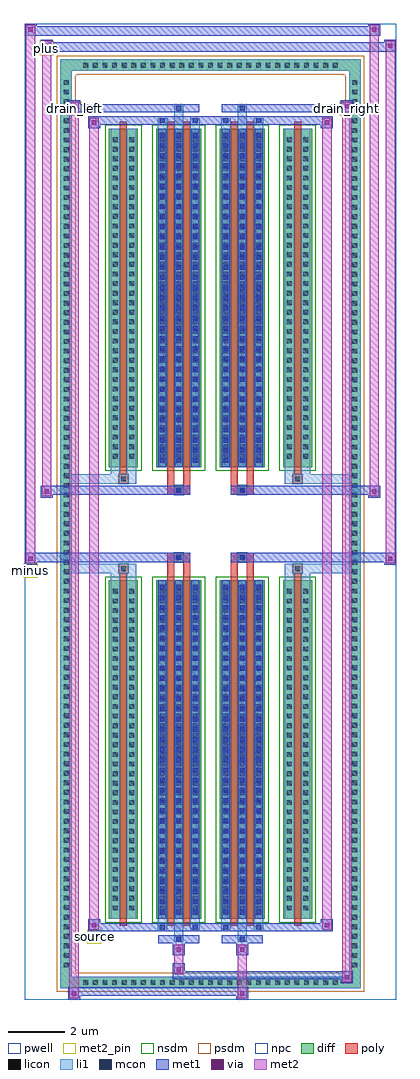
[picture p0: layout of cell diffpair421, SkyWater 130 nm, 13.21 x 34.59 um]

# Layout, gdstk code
import gdstk
lib = gdstk.Library(unit=1e-6, precision=5e-09)
def R(c, l, rs):  # rectangles x0, y0, x1, y1
    for r in rs: c.add(gdstk.rectangle(r[:2], r[2:], *l))
def A(c, l, x, y, w, h, nx, ny, dx, dy):  # array of equal rectangles
    R(c, l, [(x+i*dx, y+j*dy, x+i*dx+w, y+j*dy+h) for i in range(nx) for j in range(ny)])
def P(c, l, *ps):  # polygons
    for p in ps: c.add(gdstk.Polygon(p, *l))
pwell = (64, 44)
diff = (65, 20)
poly = (66, 20)
licon = (66, 44)
li1 = (67, 20)
mcon = (67, 44)
met1 = (68, 20)
via = (68, 44)
met2_pin = (69, 16)
met2 = (69, 20)
nsdm = (93, 44)
psdm = (94, 20)
npc = (95, 20)

diffpair421 = lib.new_cell('diffpair421')
R(diffpair421, pwell, [(-6.59,-16.86,6.59,17.73), (-3.91,-15.05,-0.01,-0.825), (0.01,-15.05,3.91,-0.825), (-3.91,0.825,-0.01,15.05), (0.01,0.825,3.91,15.05)])
A(diffpair421, diff, -4.625, -16.46, 0.41, 0.41, 27, 2, 0.34, 32.51)
A(diffpair421, diff, -5.32, -15.845, 0.41, 0.41, 1, 93, 0, 0.34)
A(diffpair421, diff, 4.91, -15.845, 0.41, 0.41, 1, 93, 0, 0.34)
R(diffpair421, diff, [(-4.625,-16.46,4.625,-16.05), (-5.32,-15.845,-4.91,15.845), (4.91,-15.845,5.32,15.845), (-3.6,-14.005,-2.57,-2.005), (-1.93,-14.005,-0.32,-2.005), (0.32,-14.005,1.93,-2.005), (2.57,-14.005,3.6,-2.005), (-3.6,2.005,-2.57,14.005), (-1.93,2.005,-0.32,14.005), (0.32,2.005,1.93,14.005), (2.57,2.005,3.6,14.005), (-4.625,16.05,4.625,16.46)])
P(diffpair421, diff, [(5.32,16.46),(-5.32,16.46),(-5.32,-16.05),(-4.91,-16.05),(-4.91,16.05),(4.91,16.05),(4.91,-16.05),(-4.91,-16.05),(-5.32,-16.05),(-5.32,-16.46),(5.32,-16.46)])
R(diffpair421, poly, [(-3.21,-14.255,-2.96,-1.755), (-1.54,-14.255,-1.29,-1.755), (-0.96,-14.255,-0.71,-1.755), (0.71,-14.255,0.96,-1.755), (1.29,-14.255,1.54,-1.755), (2.96,-14.255,3.21,-1.755), (-3.25,-1.755,-2.92,-1.425), (-3.25,-1.755,-2.92,-1.425), (-1.54,-1.755,-1.29,-1.355), (-0.96,-1.755,-0.71,-1.355), (0.71,-1.755,0.96,-1.355), (1.29,-1.755,1.54,-1.355), (2.92,-1.755,3.25,-1.425), (2.92,-1.755,3.25,-1.425), (-1.54,-1.355,-0.71,-1.025), (-1.29,-1.355,-0.96,-1.025), (0.71,-1.355,1.54,-1.025), (0.96,-1.355,1.29,-1.025), (-1.54,1.025,-0.71,1.355), (-1.29,1.025,-0.96,1.355), (0.71,1.025,1.54,1.355), (0.96,1.025,1.29,1.355), (-1.54,1.355,-1.29,1.755), (-0.96,1.355,-0.71,1.755), (0.71,1.355,0.96,1.755), (1.29,1.355,1.54,1.755), (-3.25,1.425,-2.92,1.755), (-3.25,1.425,-2.92,1.755), (2.92,1.425,3.25,1.755), (2.92,1.425,3.25,1.755), (-3.21,1.755,-2.96,14.255), (-1.54,1.755,-1.29,14.255), (-0.96,1.755,-0.71,14.255), (0.71,1.755,0.96,14.255), (1.29,1.755,1.54,14.255), (2.96,1.755,3.21,14.255)])
A(diffpair421, licon, -4.505, -16.34, 0.17, 0.17, 27, 2, 0.34, 32.51)
A(diffpair421, licon, -5.2, -15.725, 0.17, 0.17, 1, 93, 0, 0.34)
A(diffpair421, licon, 5.03, -15.725, 0.17, 0.17, 1, 93, 0, 0.34)
A(diffpair421, licon, -3.46, -13.7, 0.17, 0.17, 1, 34, 0, 0.34)
A(diffpair421, licon, -2.88, -13.7, 0.17, 0.17, 1, 34, 0, 0.34)
A(diffpair421, licon, -1.79, -13.7, 0.17, 0.17, 3, 34, 0.58, 0.34)
A(diffpair421, licon, 0.46, -13.7, 0.17, 0.17, 3, 34, 0.58, 0.34)
A(diffpair421, licon, 2.71, -13.7, 0.17, 0.17, 1, 34, 0, 0.34)
A(diffpair421, licon, 3.29, -13.7, 0.17, 0.17, 1, 34, 0, 0.34)
A(diffpair421, licon, -3.46, 2.31, 0.17, 0.17, 1, 34, 0, 0.34)
A(diffpair421, licon, -2.88, 2.31, 0.17, 0.17, 1, 34, 0, 0.34)
A(diffpair421, licon, -1.79, 2.31, 0.17, 0.17, 3, 34, 0.58, 0.34)
A(diffpair421, licon, 0.46, 2.31, 0.17, 0.17, 3, 34, 0.58, 0.34)
A(diffpair421, licon, 2.71, 2.31, 0.17, 0.17, 1, 34, 0, 0.34)
A(diffpair421, licon, 3.29, 2.31, 0.17, 0.17, 1, 34, 0, 0.34)
R(diffpair421, licon, [(-3.17,-1.675,-3,-1.505), (3,-1.675,3.17,-1.505), (-1.21,-1.275,-1.04,-1.105), (1.04,-1.275,1.21,-1.105), (-1.21,1.105,-1.04,1.275), (1.04,1.105,1.21,1.275), (-3.17,1.505,-3,1.675), (3,1.505,3.17,1.675)])
A(diffpair421, li1, -4.585, -16.42, 0.33, 0.33, 27, 2, 0.34, 32.51)
A(diffpair421, li1, -5.28, -15.805, 0.33, 0.33, 1, 93, 0, 0.34)
A(diffpair421, li1, 4.95, -15.805, 0.33, 0.33, 1, 93, 0, 0.34)
A(diffpair421, li1, -1.87, -14.005, 0.33, 12, 3, 2, 0.58, 16.01)
A(diffpair421, li1, 0.38, -14.005, 0.33, 12, 3, 2, 0.58, 16.01)
A(diffpair421, li1, -1.79, -13.85, 0.17, 0.17, 3, 33, 0.58, 0.36)
A(diffpair421, li1, -1.79, -13.85, 0.17, 11.69, 3, 2, 0.58, 16.01)
A(diffpair421, li1, 0.46, -13.85, 0.17, 0.17, 3, 33, 0.58, 0.36)
A(diffpair421, li1, 0.46, -13.85, 0.17, 11.69, 3, 2, 0.58, 16.01)
A(diffpair421, li1, -3.54, -13.78, 0.33, 0.33, 1, 34, 0, 0.34)
A(diffpair421, li1, -2.96, -13.78, 0.33, 0.33, 1, 34, 0, 0.34)
A(diffpair421, li1, -1.87, -13.78, 0.33, 0.33, 3, 34, 0.58, 0.34)
A(diffpair421, li1, 0.38, -13.78, 0.33, 0.33, 3, 34, 0.58, 0.34)
A(diffpair421, li1, 2.63, -13.78, 0.33, 0.33, 1, 34, 0, 0.34)
A(diffpair421, li1, 3.21, -13.78, 0.33, 0.33, 1, 34, 0, 0.34)
A(diffpair421, li1, -1.79, 2.16, 0.17, 0.17, 3, 33, 0.58, 0.36)
A(diffpair421, li1, 0.46, 2.16, 0.17, 0.17, 3, 33, 0.58, 0.36)
A(diffpair421, li1, -3.54, 2.23, 0.33, 0.33, 1, 34, 0, 0.34)
A(diffpair421, li1, -2.96, 2.23, 0.33, 0.33, 1, 34, 0, 0.34)
A(diffpair421, li1, -1.87, 2.23, 0.33, 0.33, 3, 34, 0.58, 0.34)
A(diffpair421, li1, 0.38, 2.23, 0.33, 0.33, 3, 34, 0.58, 0.34)
A(diffpair421, li1, 2.63, 2.23, 0.33, 0.33, 1, 34, 0, 0.34)
A(diffpair421, li1, 3.21, 2.23, 0.33, 0.33, 1, 34, 0, 0.34)
R(diffpair421, li1, [(-5.32,-16.46,-4.91,-16.05), (-5.32,-16.46,-4.91,-16.05), (-4.91,-16.46,4.91,-16.05), (4.91,-16.46,5.32,-16.05), (4.91,-16.46,5.32,-16.05), (-5.32,-16.05,-4.91,16.05), (4.91,-16.05,5.32,16.05), (-1.29,-14.81,-0.96,-14.005), (-1.21,-14.81,-1.04,-14.64), (0.96,-14.81,1.29,-14.005), (1.04,-14.81,1.21,-14.64), (-1.87,-14.38,-1.54,-14.005), (-1.79,-14.38,-1.62,-14.21), (-0.71,-14.38,-0.38,-14.005), (-0.63,-14.38,-0.46,-14.21), (0.38,-14.38,0.71,-14.005), (0.46,-14.38,0.63,-14.21), (1.54,-14.38,1.87,-14.005), (1.62,-14.38,1.79,-14.21), (-3.54,-14.005,-3.21,-2.005), (-2.96,-14.005,-2.63,-2.005), (2.63,-14.005,2.96,-2.005), (3.21,-14.005,3.54,-2.005), (-3.54,-2.005,-3.21,-1.425), (-2.96,-2.005,-2.63,-1.425), (2.63,-2.005,2.96,-1.425), (3.21,-2.005,3.54,-1.425), (-5.32,-1.755,-3.25,-1.425), (-3.54,-1.755,-3.25,-1.425), (-3.25,-1.755,-2.92,-1.425), (-2.92,-1.755,-2.63,-1.425), (2.63,-1.755,2.92,-1.425), (2.92,-1.755,3.25,-1.425), (2.92,-1.755,5.32,-1.425), (3.25,-1.755,3.54,-1.425), (-1.29,-1.355,-0.96,-1.025), (0.96,-1.355,1.29,-1.025), (-1.29,1.025,-0.96,1.355), (0.96,1.025,1.29,1.355), (-5.32,1.425,-3.25,1.755), (-3.54,1.425,-3.25,1.755), (-3.54,1.425,-3.21,2.005), (-3.25,1.425,-2.92,1.755), (-2.96,1.425,-2.63,2.005), (-2.92,1.425,-2.63,1.755), (2.63,1.425,2.92,1.755), (2.63,1.425,2.96,2.005), (2.92,1.425,3.25,1.755), (2.92,1.425,5.32,1.755), (3.21,1.425,3.54,2.005), (3.25,1.425,3.54,1.755), (-3.54,2.005,-3.21,14.005), (-2.96,2.005,-2.63,14.005), (2.63,2.005,2.96,14.005), (3.21,2.005,3.54,14.005), (-1.87,14.005,-1.54,14.38), (-1.29,14.005,-0.96,14.81), (-0.71,14.005,-0.38,14.38), (0.38,14.005,0.71,14.38), (0.96,14.005,1.29,14.81), (1.54,14.005,1.87,14.38), (-1.79,14.21,-1.62,14.38), (-0.63,14.21,-0.46,14.38), (0.46,14.21,0.63,14.38), (1.62,14.21,1.79,14.38), (-1.21,14.64,-1.04,14.81), (1.04,14.64,1.21,14.81), (-5.32,16.05,-4.91,16.46), (-5.32,16.05,-4.91,16.46), (-4.91,16.05,4.91,16.46), (4.91,16.05,5.32,16.46), (4.91,16.05,5.32,16.46)])
A(diffpair421, mcon, -1.79, -13.85, 0.17, 0.17, 3, 33, 0.58, 0.36)
A(diffpair421, mcon, 0.46, -13.85, 0.17, 0.17, 3, 33, 0.58, 0.36)
A(diffpair421, mcon, -1.79, 2.16, 0.17, 0.17, 3, 33, 0.58, 0.36)
A(diffpair421, mcon, 0.46, 2.16, 0.17, 0.17, 3, 33, 0.58, 0.36)
R(diffpair421, mcon, [(-1.21,-14.81,-1.04,-14.64), (1.04,-14.81,1.21,-14.64), (-1.79,-14.38,-1.62,-14.21), (-0.63,-14.38,-0.46,-14.21), (0.46,-14.38,0.63,-14.21), (1.62,-14.38,1.79,-14.21), (-1.21,-1.275,-1.04,-1.105), (1.04,-1.275,1.21,-1.105), (-1.21,1.105,-1.04,1.275), (1.04,1.105,1.21,1.275), (-1.79,14.21,-1.62,14.38), (-0.63,14.21,-0.46,14.38), (0.46,14.21,0.63,14.38), (1.62,14.21,1.79,14.38), (-1.21,14.64,-1.04,14.81), (1.04,14.64,1.21,14.81)])
A(diffpair421, met1, -1.85, -14.005, 0.29, 12, 3, 2, 0.58, 16.01)
A(diffpair421, met1, 0.4, -14.005, 0.29, 12, 3, 2, 0.58, 16.01)
A(diffpair421, met1, -1.85, -13.91, 0.29, 0.29, 3, 33, 0.58, 0.36)
A(diffpair421, met1, 0.4, -13.91, 0.29, 0.29, 3, 33, 0.58, 0.36)
A(diffpair421, met1, -1.85, 2.1, 0.29, 0.29, 3, 33, 0.58, 0.36)
A(diffpair421, met1, 0.4, 2.1, 0.29, 0.29, 3, 33, 0.58, 0.36)
R(diffpair421, met1, [(-5.05,-16.86,-4.62,-16.43), (0.91,-16.86,1.34,-16.43), (-5.05,-16.72,1.34,-16.43), (4.62,-16.29,5.05,-15.86), (-1.34,-16.15,5.05,-15.86), (-1.34,-16.01,-0.91,-15.58), (-1.34,-15.3,-0.91,-14.87), (0.91,-15.3,1.34,-14.87), (-1.85,-14.87,-0.4,-14.58), (-1.27,-14.87,-0.98,-14.58), (0.4,-14.87,1.85,-14.58), (0.98,-14.87,1.27,-14.58), (-4.34,-14.44,-3.91,-14.01), (-4.34,-14.44,-1.85,-14.15), (-1.85,-14.44,-1.56,-14.15), (-1.85,-14.44,-0.4,-14.15), (-0.69,-14.44,-0.4,-14.15), (-0.4,-14.44,0.4,-14.15), (0.4,-14.44,0.69,-14.15), (0.4,-14.44,1.85,-14.15), (1.56,-14.44,1.85,-14.15), (1.85,-14.44,4.34,-14.15), (3.91,-14.44,4.34,-14.01), (-6.59,-1.455,-6.16,-1.025), (6.16,-1.455,6.59,-1.025), (-6.59,-1.355,-0.71,-1.025), (-1.54,-1.355,-0.71,-1.025), (0.71,-1.355,1.54,-1.025), (0.71,-1.355,6.59,-1.025), (-1.27,-1.335,-0.98,-1.045), (0.98,-1.335,1.27,-1.045), (-6.02,0.925,-5.59,1.355), (5.59,0.925,6.02,1.355), (-6.02,1.025,-1.54,1.355), (-1.54,1.025,-0.71,1.355), (0.71,1.025,1.54,1.355), (1.54,1.025,6.02,1.355), (-1.27,1.045,-0.98,1.335), (0.98,1.045,1.27,1.335), (-4.34,14.01,-3.91,14.44), (3.91,14.01,4.34,14.44), (-4.34,14.15,-1.85,14.44), (-1.85,14.15,-1.56,14.44), (-1.85,14.15,-0.4,14.44), (-0.69,14.15,-0.4,14.44), (-0.4,14.15,0.4,14.44), (0.4,14.15,0.69,14.44), (0.4,14.15,1.85,14.44), (1.56,14.15,1.85,14.44), (1.85,14.15,4.34,14.44), (-5.05,14.58,-4.62,15.01), (-5.05,14.58,-1.85,14.87), (-1.85,14.58,-0.4,14.87), (-1.27,14.58,-0.98,14.87), (0.4,14.58,1.85,14.87), (0.98,14.58,1.27,14.87), (1.85,14.58,5.05,14.87), (4.62,14.58,5.05,15.01), (-6.02,16.73,-5.59,17.16), (-6.02,16.73,-3.91,17.06), (-3.91,16.73,3.91,17.06), (3.91,16.73,6.59,17.06), (6.16,16.73,6.59,17.16), (-6.59,17.3,-6.16,17.73), (-6.59,17.3,-3.91,17.63), (-3.91,17.3,3.91,17.63), (3.91,17.3,6.02,17.63), (5.59,17.3,6.02,17.73)])
R(diffpair421, via, [(-4.91,-16.72,-4.76,-16.57), (1.05,-16.72,1.2,-16.57), (4.76,-16.15,4.91,-16), (-1.2,-15.87,-1.05,-15.72), (-1.2,-15.16,-1.05,-15.01), (1.05,-15.16,1.2,-15.01), (-4.2,-14.3,-4.05,-14.15), (4.05,-14.3,4.2,-14.15), (-6.45,-1.315,-6.3,-1.165), (6.3,-1.315,6.45,-1.165), (-5.88,1.065,-5.73,1.215), (5.73,1.065,5.88,1.215), (-4.2,14.15,-4.05,14.3), (4.05,14.15,4.2,14.3), (-4.91,14.72,-4.76,14.87), (4.76,14.72,4.91,14.87), (-5.88,16.87,-5.73,17.02), (6.3,16.87,6.45,17.02), (-6.45,17.44,-6.3,17.59), (5.73,17.44,5.88,17.59)])
R(diffpair421, met2_pin, [(-4.375,-14.89,-3.875,-14.39), (-6.625,-1.905,-6.125,-1.405), (-5.085,14.46,-4.585,14.96), (4.585,14.46,5.085,14.96), (-6.055,16.61,-5.555,17.11)])
R(diffpair421, met2, [(-5,-16.81,-4.67,-16.48), (-5,-16.81,-4.67,14.96), (0.96,-16.81,1.29,-16.48), (0.96,-16.48,1.29,-15.25), (4.67,-16.24,5,-15.91), (4.67,-16.24,5,14.96), (-1.29,-15.96,-0.96,-15.63), (-1.29,-15.63,-0.96,-15.25), (-1.29,-15.25,-0.96,-14.92), (0.96,-15.25,1.29,-14.92), (-4.29,-14.39,-3.96,-14.06), (-4.29,-14.39,-3.96,14.39), (3.96,-14.39,4.29,-14.06), (3.96,-14.39,4.29,14.39), (-6.54,-1.405,-6.21,-1.075), (-6.54,-1.405,-6.21,17.68), (6.21,-1.405,6.54,-1.075), (6.21,-1.405,6.54,17.11), (-5.97,0.975,-5.64,1.305), (-5.97,0.975,-5.64,17.11), (5.64,0.975,5.97,1.305), (5.64,0.975,5.97,17.68), (-4.29,14.06,-3.96,14.39), (3.96,14.06,4.29,14.39), (-5,14.63,-4.67,14.96), (4.67,14.63,5,14.96), (-5.97,16.78,-5.64,17.11), (6.21,16.78,6.54,17.11), (-6.54,17.35,-6.21,17.68), (5.64,17.35,5.97,17.68)])
P(diffpair421, met2, [(6.54,-1.405),(6.54,-1.405),(6.54,-1.075),(6.54,-1.075)],
  [(6.54,16.78),(6.54,16.78),(6.54,17.11),(6.54,17.11)],
  [(-6.21,-1.405),(-6.21,-1.405),(-6.21,-1.075),(-6.21,-1.075)],
  [(-6.21,17.35),(-6.21,17.35),(-6.21,17.68),(-6.21,17.68)],
  [(5.97,0.975),(5.97,0.975),(5.97,1.305),(5.97,1.305)],
  [(5.97,17.35),(5.97,17.35),(5.97,17.68),(5.97,17.68)],
  [(-5.64,0.975),(-5.64,0.975),(-5.64,1.305),(-5.64,1.305)],
  [(-5.64,16.78),(-5.64,16.78),(-5.64,17.11),(-5.64,17.11)],
  [(-4.67,-16.81),(-4.67,-16.81),(-4.67,-16.48),(-4.67,-16.48)],
  [(-4.67,14.63),(-4.67,14.63),(-4.67,14.96),(-4.67,14.96)],
  [(5,-16.24),(5,-16.24),(5,-15.91),(5,-15.91)],
  [(5,14.63),(5,14.63),(5,14.96),(5,14.96)],
  [(-3.96,-14.39),(-3.96,-14.39),(-3.96,-14.06),(-3.96,-14.06)],
  [(-3.96,14.06),(-3.96,14.06),(-3.96,14.39),(-3.96,14.39)],
  [(4.29,-14.39),(4.29,-14.39),(4.29,-14.06),(4.29,-14.06)],
  [(4.29,14.06),(4.29,14.06),(4.29,14.39),(4.29,14.39)])
R(diffpair421, nsdm, [(-3.73,-14.135,-2.44,-1.875), (-2.06,-14.135,-0.19,-1.875), (0.19,-14.135,2.06,-1.875), (2.44,-14.135,3.73,-1.875), (-3.73,1.875,-2.44,14.135), (-2.06,1.875,-0.19,14.135), (0.19,1.875,2.06,14.135), (2.44,1.875,3.73,14.135)])
P(diffpair421, psdm, [(5.45,16.59),(-5.45,16.59),(-5.45,-15.92),(-4.78,-15.92),(-4.78,15.92),(4.78,15.92),(4.78,-15.92),(-4.78,-15.92),(-5.45,-15.92),(-5.45,-16.59),(5.45,-16.59)])
R(diffpair421, npc, [(-3.27,-1.775,-2.9,-1.405), (2.9,-1.775,3.27,-1.405), (-1.31,-1.375,-0.94,-1.005), (0.94,-1.375,1.31,-1.005), (-1.31,1.005,-0.94,1.375), (0.94,1.005,1.31,1.375), (-3.27,1.405,-2.9,1.775), (2.9,1.405,3.27,1.775)])
diffpair421.add(gdstk.Label('minus', (-6.375,-1.655), layer=69, texttype=5))
diffpair421.add(gdstk.Label('drain_right', (4.835,14.71), layer=69, texttype=5))
diffpair421.add(gdstk.Label('drain_left', (-4.835,14.71), layer=69, texttype=5))
diffpair421.add(gdstk.Label('source', (-4.125,-14.64), layer=69, texttype=5))
diffpair421.add(gdstk.Label('plus', (-5.805,16.86), layer=69, texttype=5))

lib.write_gds('diffpair421.gds')
